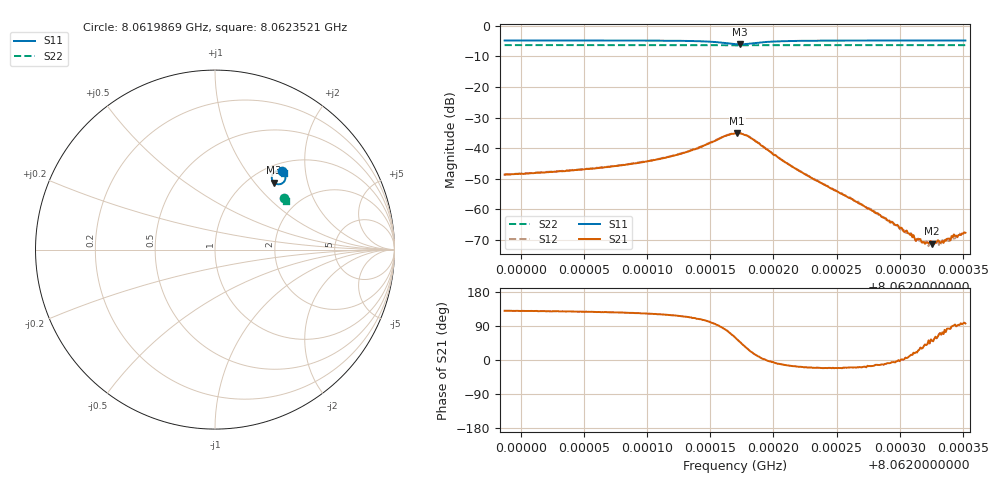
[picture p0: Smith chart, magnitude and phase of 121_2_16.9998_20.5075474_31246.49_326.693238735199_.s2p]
#  HZ  S  RI  R  50.00
! Rohde & Schwarz Vector Network Analyzer
! Rohde-Schwarz,ZNB20-2Port,1311601062101988,3.16
! Created: UTC 3/20/2024, 10:57:26 PM
! freq[Hz]  re:S11  im:S11  re:S21  im:S21  re:S12  im:S12  re:S22  im:S22
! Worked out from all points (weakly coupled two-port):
!   401 points, 8.0619869 GHz to 8.0623521 GHz, reference 50 ohm
!   highest |S21| = -35.12 dB at 8.0621714 GHz (marker M1); lowest = -71.3 dB at 8.0623256 GHz (marker M2)
!   lowest |S11| = -6.1 dB at 8.0621732 GHz (marker M3), VSWR 2.98, Z = 64 + j63.4 ohm
!   |S11| at or under -10 dB: nowhere
!   |S22| runs from -6.4 to -6.3 dB; largest |S21 - S12| = 0.0013
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8.06198695e9  0.3755 0.4362  -0.00236 0.00282  -0.00218 0.00301  0.3863 0.2901
8.06204811e9  0.3813 0.4304  -0.00269 0.00355  -0.00251 0.00369  0.3884 0.287
8.06208006e9  0.385 0.4257  -0.00302 0.00428  -0.00279 0.00451  0.3896 0.2853
8.06210928e9  0.3892 0.4184  -0.00338 0.00566  -0.00306 0.00594  0.3906 0.2837
8.0621321e9  0.3925 0.4066  -0.00351 0.00802  -0.00303 0.00831  0.3914 0.282
8.06215492e9  0.3851 0.3789  -0.000672 0.0135  2.42e-05 0.0138  0.3913 0.2798
8.06216953e9  0.3435 0.3653  0.0087 0.0151  0.0099 0.0146  0.3895 0.2793
8.06217135e9  0.3364 0.3681  0.0103 0.0142  0.0111 0.0136  0.3893 0.2794
8.06217318e9  0.3299 0.3726  0.0116 0.013  0.0125 0.0124  0.3894 0.2796
8.06218139e9  0.3163 0.4021  0.0136 0.00603  0.0141 0.00526  0.3894 0.2807
8.06220787e9  0.3475 0.4394  0.006 -0.00133  0.00595 -0.00169  0.3922 0.2806
8.06223069e9  0.3624 0.4393  0.00301 -0.00112  0.00294 -0.0013  0.3936 0.2794
8.06227634e9  0.3747 0.435  0.00095 -0.000271  0.000961 -0.000347  0.3954 0.2769
8.06229186e9  0.3772 0.4336  0.000647 -9.61e-05  0.000596 -0.000124  0.396 0.276
8.06230829e9  0.3794 0.4321  0.000372 7.53e-05  0.000423 7.78e-05  0.3966 0.2752
8.06231103e9  0.3797 0.4319  0.000355 0.000124  0.000328 9.24e-05  0.3966 0.2751
8.06231377e9  0.38 0.4317  0.000306 0.00011  0.0003 0.000114  0.3968 0.2749
8.06231924e9  0.3806 0.4312  0.000232 0.000176  0.000237 0.000162  0.3969 0.2747
8.06232563e9  0.3812 0.4308  0.00017 0.000212  0.0002 0.000228  0.3971 0.2744
8.06233385e9  0.382 0.4303  8.8e-05 0.000288  0.000103 0.000295  0.3975 0.2739
8.06233933e9  0.3826 0.4299  4.41e-05 0.000329  3.86e-05 0.000298  0.3977 0.2736
8.06235211e9  0.3839 0.4288  -4.53e-05 0.000409  -5.76e-05 0.000428  0.398 0.273
